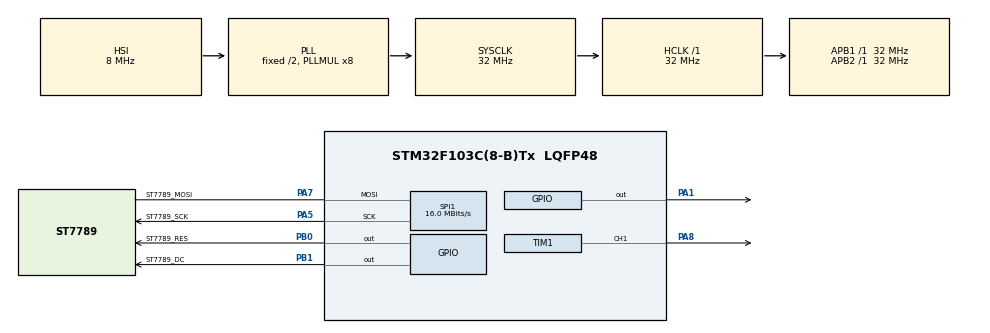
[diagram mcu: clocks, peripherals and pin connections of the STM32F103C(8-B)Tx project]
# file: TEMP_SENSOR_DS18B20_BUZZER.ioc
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Mcu.Family=STM32F1
Mcu.Name=STM32F103C(8-B)Tx
Mcu.Package=LQFP48
NVIC.PriorityGroup=NVIC_PRIORITYGROUP_4
PA1.Signal=GPIO_Output
PA13.Mode=Serial_Wire
PA13.Signal=SYS_JTMS-SWDIO
PA14.Mode=Serial_Wire
PA14.Signal=SYS_JTCK-SWCLK
PA5.GPIO_Label=ST7789_SCK
PA5.Mode=Simplex_Bidirectional_Master
PA5.Signal=SPI1_SCK
PA7.GPIO_Label=ST7789_MOSI
PA7.Mode=Simplex_Bidirectional_Master
PA7.Signal=SPI1_MOSI
PA8.Signal=S_TIM1_CH1
PB0.GPIO_Label=ST7789_RES
PB0.PinState=GPIO_PIN_SET
PB0.Signal=GPIO_Output
PB1.GPIO_Label=ST7789_DC
PB1.Signal=GPIO_Output
ProjectManager.HeapSize=0x200
ProjectManager.StackSize=0x400
ProjectManager.TargetToolchain=STM32CubeIDE
RCC.AHBFreq_Value=32000000
RCC.APB1Freq_Value=32000000
RCC.APB1TimFreq_Value=32000000
RCC.APB2Freq_Value=32000000
RCC.APB2TimFreq_Value=32000000
RCC.HCLKFreq_Value=32000000
RCC.PLLMUL=RCC_PLL_MUL8
RCC.SYSCLKFreq_VALUE=32000000
RCC.SYSCLKSource=RCC_SYSCLKSOURCE_PLLCLK
RCC.USBFreq_Value=32000000
SH.S_TIM1_CH1.0=TIM1_CH1,PWM Generation1 CH1
SPI1.CalculateBaudRate=16.0 MBits/s
SPI1.Direction=SPI_DIRECTION_1LINE
SPI1.Mode=SPI_MODE_MASTER
SPI1.VirtualType=VM_MASTER
TIM1.Channel-PWM\ Generation1\ CH1=TIM_CHANNEL_1
TIM1.Period=533
TIM1.Pulse-PWM\ Generation1\ CH1=266
VP_TIM1_VS_ClockSourceINT.Mode=Internal
board=custom

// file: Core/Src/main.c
/* USER CODE BEGIN Header */
/**
 ******************************************************************************
 * @file           : main.c
 * @brief          : Main program body
 ******************************************************************************
 * @attention
 *
 * Copyright (c) 2024 STMicroelectronics.
 * All rights reserved.
 *
 * This software is licensed under terms that can be found in the LICENSE file
 * in the root directory of this software component.
 * If no LICENSE file comes with this software, it is provided AS-IS.
 *
 ******************************************************************************
 */
/* USER CODE END Header */
#include "main.h"

/* USER CODE BEGIN Includes */
#include <stdio.h>
#include "ds18b20.h"
#include "st7789.h"
#include "fonts.h"
/* USER CODE END Includes */

/* USER CODE BEGIN PD */
#define TIM_FREQ   		 32000000
#define TEMP_UPPER_LIMIT 28
/* USER CODE END PD */

/* USER CODE BEGIN PM */
#define PRESCALER_FREQ(freq) ((TIM_FREQ / (1000 * freq)) - 1)
/* USER CODE END PM */

SPI_HandleTypeDef hspi1;

TIM_HandleTypeDef htim1;

void SystemClock_Config(void);
static void MX_GPIO_Init(void);
static void MX_SPI1_Init(void);
static void MX_TIM1_Init(void);
/* USER CODE BEGIN PFP */
static void Buzzer_PlayTempLimit(void);
/* USER CODE END PFP */

int main(void)
{

	/* MCU Configuration--------------------------------------------------------*/

	/* Reset of all peripherals, Initializes the Flash interface and the Systick. */
	HAL_Init();

	/* Configure the system clock */
	SystemClock_Config();

	/* Initialize all configured peripherals */
	MX_GPIO_Init();
	MX_SPI1_Init();
	MX_TIM1_Init();
	/* USER CODE BEGIN 2 */
	ST7789_Init();
	HAL_TIM_PWM_Start(&htim1, TIM_CHANNEL_1);
	/* USER CODE END 2 */

	/* Infinite loop */
	/* USER CODE BEGIN WHILE */
	char	buffer[11];
	uint8_t	charTotalNum;
	float	temp;

	while (1)
	{
		temp = DS18B20_Temp();

		if (temp > TEMP_UPPER_LIMIT)
		{
			Buzzer_PlayTempLimit();
		}

		charTotalNum = sprintf(buffer, "%.1f", temp);
		ST7789_DrawString(buffer, charTotalNum, 70, 98, ST7789_WIDTH - 1, BLACK, WHITE);
	}
	/* USER CODE END WHILE */

}

void SystemClock_Config(void)
{
	RCC_OscInitTypeDef RCC_OscInitStruct = {0};
	RCC_ClkInitTypeDef RCC_ClkInitStruct = {0};

	/** Initializes the RCC Oscillators according to the specified parameters
	 * in the RCC_OscInitTypeDef structure.
	 */
	RCC_OscInitStruct.OscillatorType = RCC_OSCILLATORTYPE_HSI;
	RCC_OscInitStruct.HSIState = RCC_HSI_ON;
	RCC_OscInitStruct.HSICalibrationValue = RCC_HSICALIBRATION_DEFAULT;
	RCC_OscInitStruct.PLL.PLLState = RCC_PLL_ON;
	RCC_OscInitStruct.PLL.PLLSource = RCC_PLLSOURCE_HSI_DIV2;
	RCC_OscInitStruct.PLL.PLLMUL = RCC_PLL_MUL8;
	if (HAL_RCC_OscConfig(&RCC_OscInitStruct) != HAL_OK)
	{
		Error_Handler();
	}

	/** Initializes the CPU, AHB and APB buses clocks
	 */
	RCC_ClkInitStruct.ClockType = RCC_CLOCKTYPE_HCLK|RCC_CLOCKTYPE_SYSCLK
			|RCC_CLOCKTYPE_PCLK1|RCC_CLOCKTYPE_PCLK2;
	RCC_ClkInitStruct.SYSCLKSource = RCC_SYSCLKSOURCE_PLLCLK;
	RCC_ClkInitStruct.AHBCLKDivider = RCC_SYSCLK_DIV1;
	RCC_ClkInitStruct.APB1CLKDivider = RCC_HCLK_DIV1;
	RCC_ClkInitStruct.APB2CLKDivider = RCC_HCLK_DIV1;

	if (HAL_RCC_ClockConfig(&RCC_ClkInitStruct, FLASH_LATENCY_1) != HAL_OK)
	{
		Error_Handler();
	}
}

static void MX_SPI1_Init(void)
{

	/* SPI1 parameter configuration*/
	hspi1.Instance = SPI1;
	hspi1.Init.Mode = SPI_MODE_MASTER;
	hspi1.Init.Direction = SPI_DIRECTION_1LINE;
	hspi1.Init.DataSize = SPI_DATASIZE_8BIT;
	hspi1.Init.CLKPolarity = SPI_POLARITY_LOW;
	hspi1.Init.CLKPhase = SPI_PHASE_1EDGE;
	hspi1.Init.NSS = SPI_NSS_SOFT;
	hspi1.Init.BaudRatePrescaler = SPI_BAUDRATEPRESCALER_2;
	hspi1.Init.FirstBit = SPI_FIRSTBIT_MSB;
	hspi1.Init.TIMode = SPI_TIMODE_DISABLE;
	hspi1.Init.CRCCalculation = SPI_CRCCALCULATION_DISABLE;
	hspi1.Init.CRCPolynomial = 10;
	if (HAL_SPI_Init(&hspi1) != HAL_OK)
	{
		Error_Handler();
	}
	/* USER CODE BEGIN SPI1_Init 2 */
	hspi1.Instance->CR1 |= SPI_CR1_BIDIOE;
	/* USER CODE END SPI1_Init 2 */

}

static void MX_TIM1_Init(void)
{

	TIM_ClockConfigTypeDef sClockSourceConfig = {0};
	TIM_MasterConfigTypeDef sMasterConfig = {0};
	TIM_OC_InitTypeDef sConfigOC = {0};
	TIM_BreakDeadTimeConfigTypeDef sBreakDeadTimeConfig = {0};

	htim1.Instance = TIM1;
	htim1.Init.Prescaler = 0;
	htim1.Init.CounterMode = TIM_COUNTERMODE_UP;
	htim1.Init.Period = 533;
	htim1.Init.ClockDivision = TIM_CLOCKDIVISION_DIV1;
	htim1.Init.RepetitionCounter = 0;
	htim1.Init.AutoReloadPreload = TIM_AUTORELOAD_PRELOAD_DISABLE;
	if (HAL_TIM_Base_Init(&htim1) != HAL_OK)
	{
		Error_Handler();
	}
	sClockSourceConfig.ClockSource = TIM_CLOCKSOURCE_INTERNAL;
	if (HAL_TIM_ConfigClockSource(&htim1, &sClockSourceConfig) != HAL_OK)
	{
		Error_Handler();
	}
	if (HAL_TIM_PWM_Init(&htim1) != HAL_OK)
	{
		Error_Handler();
	}
	sMasterConfig.MasterOutputTrigger = TIM_TRGO_RESET;
	sMasterConfig.MasterSlaveMode = TIM_MASTERSLAVEMODE_DISABLE;
	if (HAL_TIMEx_MasterConfigSynchronization(&htim1, &sMasterConfig) != HAL_OK)
	{
		Error_Handler();
	}
	sConfigOC.OCMode = TIM_OCMODE_PWM1;
	sConfigOC.Pulse = 266;
	sConfigOC.OCPolarity = TIM_OCPOLARITY_HIGH;
	sConfigOC.OCNPolarity = TIM_OCNPOLARITY_HIGH;
	sConfigOC.OCFastMode = TIM_OCFAST_DISABLE;
	sConfigOC.OCIdleState = TIM_OCIDLESTATE_RESET;
	sConfigOC.OCNIdleState = TIM_OCNIDLESTATE_RESET;
	if (HAL_TIM_PWM_ConfigChannel(&htim1, &sConfigOC, TIM_CHANNEL_1) != HAL_OK)
	{
		Error_Handler();
	}
	sBreakDeadTimeConfig.OffStateRunMode = TIM_OSSR_DISABLE;
	sBreakDeadTimeConfig.OffStateIDLEMode = TIM_OSSI_DISABLE;
	sBreakDeadTimeConfig.LockLevel = TIM_LOCKLEVEL_OFF;
	sBreakDeadTimeConfig.DeadTime = 0;
	sBreakDeadTimeConfig.BreakState = TIM_BREAK_DISABLE;
	sBreakDeadTimeConfig.BreakPolarity = TIM_BREAKPOLARITY_HIGH;
	sBreakDeadTimeConfig.AutomaticOutput = TIM_AUTOMATICOUTPUT_DISABLE;
	if (HAL_TIMEx_ConfigBreakDeadTime(&htim1, &sBreakDeadTimeConfig) != HAL_OK)
	{
		Error_Handler();
	}
	HAL_TIM_MspPostInit(&htim1);

}

static void MX_GPIO_Init(void)
{
	GPIO_InitTypeDef GPIO_InitStruct = {0};

	/* GPIO Ports Clock Enable */
	__HAL_RCC_GPIOA_CLK_ENABLE();
	__HAL_RCC_GPIOB_CLK_ENABLE();

	/*Configure GPIO pin Output Level */
	HAL_GPIO_WritePin(GPIOA, GPIO_PIN_1, GPIO_PIN_RESET);

	/*Configure GPIO pin Output Level */
	HAL_GPIO_WritePin(ST7789_RES_GPIO_Port, ST7789_RES_Pin, GPIO_PIN_SET);

	/*Configure GPIO pin Output Level */
	HAL_GPIO_WritePin(ST7789_DC_GPIO_Port, ST7789_DC_Pin, GPIO_PIN_RESET);

	/*Configure GPIO pin : PA1 */
	GPIO_InitStruct.Pin = GPIO_PIN_1;
	GPIO_InitStruct.Mode = GPIO_MODE_OUTPUT_PP;
	GPIO_InitStruct.Pull = GPIO_NOPULL;
	GPIO_InitStruct.Speed = GPIO_SPEED_FREQ_LOW;
	HAL_GPIO_Init(GPIOA, &GPIO_InitStruct);

	/*Configure GPIO pins : ST7789_RES_Pin ST7789_DC_Pin */
	GPIO_InitStruct.Pin = ST7789_RES_Pin|ST7789_DC_Pin;
	GPIO_InitStruct.Mode = GPIO_MODE_OUTPUT_PP;
	GPIO_InitStruct.Pull = GPIO_NOPULL;
	GPIO_InitStruct.Speed = GPIO_SPEED_FREQ_LOW;
	HAL_GPIO_Init(GPIOB, &GPIO_InitStruct);

}

/* USER CODE BEGIN 4 */
static void transmitSPI(SPI_HandleTypeDef* hspi, uint8_t *data, uint8_t dataSize)
{
	hspi->Instance->CR1 |= SPI_CR1_SPE;

	for (int byteCount = 0; byteCount < dataSize; byteCount++)
	{
		while ((hspi->Instance->SR & SPI_FLAG_TXE) == 0);

		hspi->Instance->DR = *(data + byteCount);
	}

	while ((hspi->Instance->SR & SPI_FLAG_BSY) != 0);
}

void ST7789_TransmitSPI(uint8_t *data, uint8_t dataSize)
{
	transmitSPI(&hspi1, data, dataSize);
}

static void Buzzer_PlayTempLimit(void)
{
	__HAL_TIM_SET_PRESCALER(&htim1, PRESCALER_FREQ(1000));
	HAL_Delay(250);
	__HAL_TIM_SET_PRESCALER(&htim1, PRESCALER_FREQ(3000));
	HAL_Delay(250);
	__HAL_TIM_SET_PRESCALER(&htim1, PRESCALER_FREQ(6000));
	HAL_Delay(250);
	__HAL_TIM_SET_PRESCALER(&htim1, PRESCALER_FREQ(9000));
	HAL_Delay(250);
	__HAL_TIM_SET_PRESCALER(&htim1, PRESCALER_FREQ(12000));
	HAL_Delay(250);
}

/* USER CODE END 4 */

void Error_Handler(void)
{
	__disable_irq();
	while (1)
	{
	}
}
